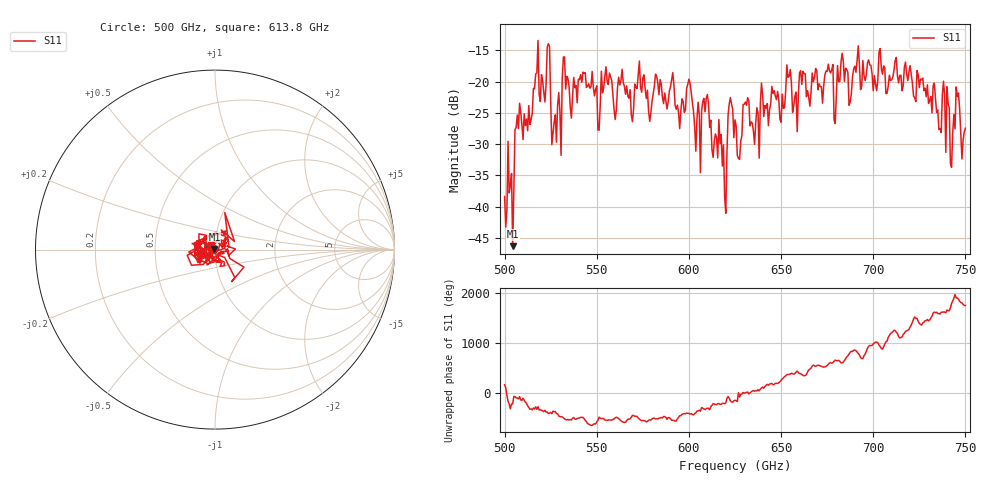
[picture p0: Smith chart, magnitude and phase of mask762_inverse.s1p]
!Created with skrf (http://scikit-rf.org).
# GHz S MA R 50.0
!freq magS11 angS11
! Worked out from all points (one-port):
!   401 points, 500 GHz to 750 GHz, reference 50 ohm
!   lowest |S11| = -46.3 dB at 504.4 GHz (marker M1), VSWR 1.01, Z = 49.7 + j0.355 ohm
!   |S11| at or under -10 dB: start of sweep to end of sweep
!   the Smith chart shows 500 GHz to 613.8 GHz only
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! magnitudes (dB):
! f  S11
! 500 GHz  -38.4
! 504.4 GHz  -46.3
! 506.9 GHz  -25.3
! 513.8 GHz  -26.9
! 516.9 GHz  -18.8
! 523.8 GHz  -13.9
! 526.9 GHz  -26.5
! 531.2 GHz  -19.5
! 542.5 GHz  -18.5
! 550.6 GHz  -27.7
! 562.5 GHz  -20.5
! 579.4 GHz  -25.0
! 590.6 GHz  -19.7
! 593.8 GHz  -23.8
! 600 GHz  -19.6
! 605 GHz  -23.3
! 609.4 GHz  -22.7
! 619.4 GHz  -38.4
! 622.5 GHz  -22.5
! 625 GHz  -26.1
! 656.2 GHz  -24.9
! 676.9 GHz  -18.6
! 680 GHz  -22.2
! 683.8 GHz  -16.7
! 687.5 GHz  -23.3
! 691.2 GHz  -16.6
! 718.8 GHz  -19.8
! 750 GHz  -27.5
